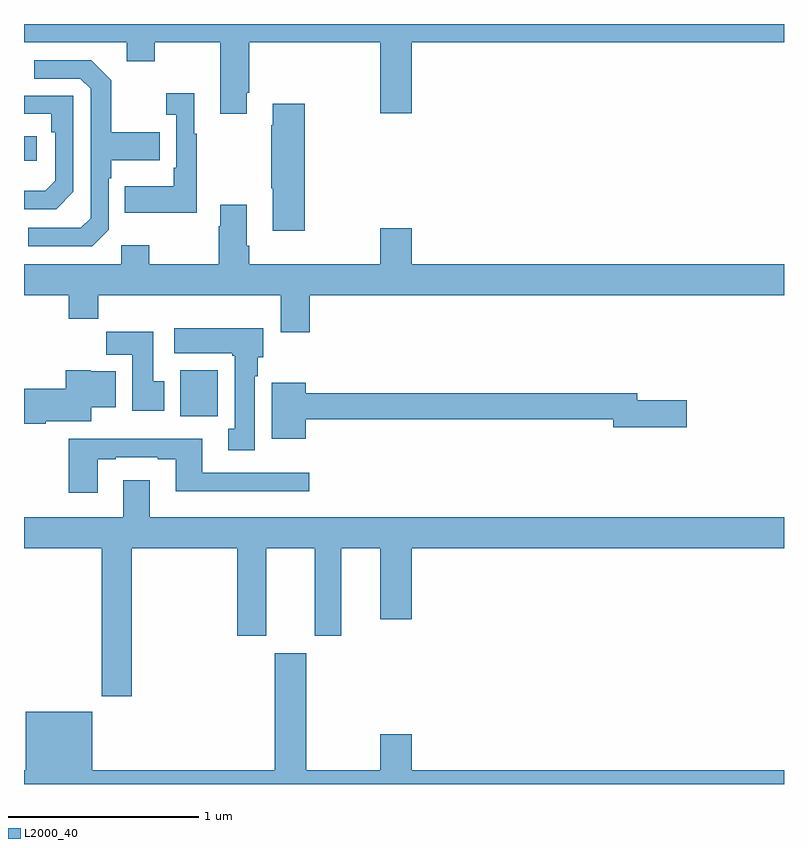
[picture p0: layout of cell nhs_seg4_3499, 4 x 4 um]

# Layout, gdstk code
import gdstk
lib = gdstk.Library(unit=1e-6, precision=1e-09)
def R(c, l, rs):  # rectangles x0, y0, x1, y1
    for r in rs: c.add(gdstk.rectangle(r[:2], r[2:], *l))
def P(c, l, *ps):  # polygons
    for p in ps: c.add(gdstk.Polygon(p, *l))
L2000_40 = (2000, 40)

nhs_seg4_3499 = lib.new_cell('nhs_seg4_3499')
R(nhs_seg4_3499, L2000_40, [(295.823,810.836,296.02,811.078), (295,812.18,295.066,812.31)])
P(nhs_seg4_3499, L2000_40, [(296.173,812.539),(296.186,812.539),(296.186,812.804),(296.876,812.804),(296.876,812.43),(297.04,812.43),(297.04,812.804),(299,812.804),(299,812.9),(295,812.9),(295,812.804),(295.541,812.804),(295.541,812.705),(295.689,812.705),(295.689,812.804),(296.033,812.804),(296.033,812.427),(296.173,812.427)],
  [(295.446,811.818),(295.446,812.087),(295.459,812.087),(295.459,812.183),(295.715,812.183),(295.715,812.331),(295.459,812.331),(295.459,812.603),(295.353,812.709),(295.053,812.709),(295.053,812.613),(295.296,812.613),(295.35,812.559),(295.35,811.878),(295.299,811.827),(295.023,811.827),(295.023,811.731),(295.359,811.731)],
  [(295.909,812.323),(295.897,812.323),(295.897,812.536),(295.749,812.536),(295.749,812.423),(295.8,812.423),(295.8,812.143),(295.788,812.143),(295.788,812.047),(295.531,812.047),(295.531,811.907),(295.909,811.907)],
  [(295.26,812.016),(295.26,812.523),(295,812.523),(295,812.427),(295.144,812.427),(295.144,812.33),(295.164,812.33),(295.164,812.076),(295.111,812.023),(295,812.023),(295,811.926),(295.17,811.926)],
  [(296.477,812.479),(296.309,812.479),(296.309,812.366),(296.302,812.366),(296.302,812.035),(296.309,812.035),(296.309,811.812),(296.477,811.812)],
  [(296.504,811.472),(299,811.472),(299,811.636),(297.04,811.636),(297.04,811.825),(296.876,811.825),(296.876,811.636),(296.186,811.636),(296.186,811.732),(296.173,811.732),(296.173,811.948),(296.033,811.948),(296.033,811.835),(296.026,811.835),(296.026,811.636),(295.659,811.636),(295.659,811.735),(295.512,811.735),(295.512,811.636),(295,811.636),(295,811.472),(295.235,811.472),(295.235,811.348),(295.391,811.348),(295.391,811.472),(296.351,811.472),(296.351,811.278),(296.504,811.278)],
  [(296.215,811.046),(296.23,811.046),(296.23,811.146),(296.26,811.146),(296.26,811.3),(295.791,811.3),(295.791,811.166),(296.095,811.166),(296.095,811.153),(296.108,811.153),(296.108,810.77),(296.075,810.77),(296.075,810.657),(296.215,810.657)],
  [(295.738,811.02),(295.681,811.02),(295.681,811.279),(295.432,811.279),(295.432,811.16),(295.571,811.16),(295.571,810.864),(295.738,810.864)],
  [(295.114,810.809),(295.354,810.809),(295.354,810.884),(295.483,810.884),(295.483,811.072),(295.35,811.072),(295.35,811.078),(295.22,811.078),(295.22,810.98),(295.002,810.98),(295.002,810.797),(295.114,810.797)],
  [(296.482,810.82),(298.1,810.82),(298.1,810.778),(298.489,810.778),(298.489,810.92),(298.228,810.92),(298.228,810.956),(296.482,810.956),(296.482,811.012),(296.303,811.012),(296.303,810.716),(296.482,810.716)],
  [(295.387,810.609),(295.483,810.609),(295.483,810.621),(295.703,810.621),(295.703,810.609),(295.799,810.609),(295.799,810.44),(296.5,810.44),(296.5,810.537),(295.939,810.537),(295.939,810.718),(295.235,810.718),(295.235,810.432),(295.387,810.432)],
  [(295.568,810.14),(296.123,810.14),(296.123,809.679),(296.275,809.679),(296.275,810.14),(296.531,810.14),(296.531,809.679),(296.671,809.679),(296.671,810.14),(296.876,810.14),(296.876,809.766),(297.04,809.766),(297.04,810.14),(299,810.14),(299,810.304),(295.663,810.304),(295.663,810.499),(295.523,810.499),(295.523,810.304),(295,810.304),(295,810.14),(295.408,810.14),(295.408,809.361),(295.568,809.361)],
  [(299,808.972),(297.04,808.972),(297.04,809.161),(296.876,809.161),(296.876,808.972),(296.485,808.972),(296.485,809.587),(296.321,809.587),(296.321,808.972),(295.36,808.972),(295.36,809.281),(295.01,809.281),(295.01,808.972),(295,808.972),(295,808.9),(299,808.9)])

lib.write_gds('nhs_seg4_3499.gds')
